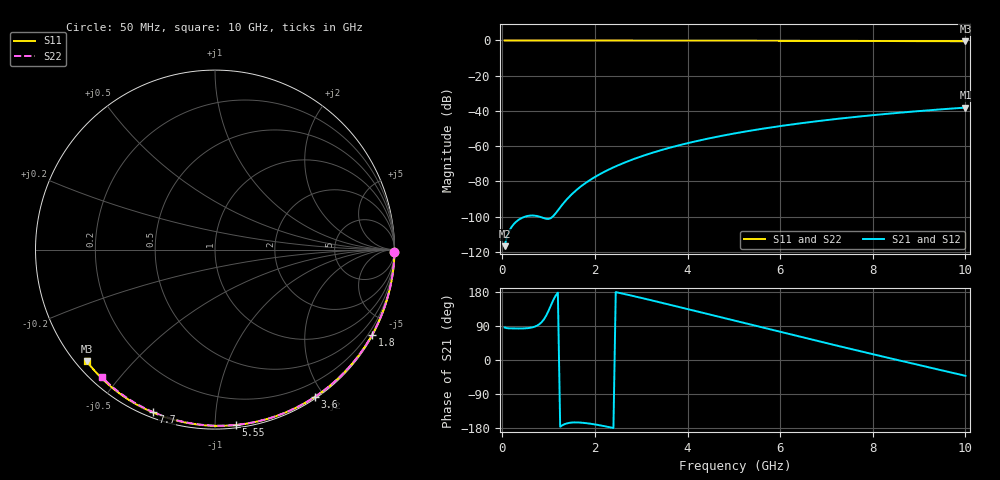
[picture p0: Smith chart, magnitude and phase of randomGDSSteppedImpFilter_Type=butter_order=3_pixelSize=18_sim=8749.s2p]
! freq	dB(S11)	phase(S11)	dB(S12)	phase(S12)
!  dB(S21)	phase(S21)	dB(S22)	phase(S22)
!S-par simulation data
#  GHz  S  DB  R 50
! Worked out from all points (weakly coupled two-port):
!   200 points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, 50 MHz to 10 GHz, reference 50 ohm
!   highest |S21| = -38.12 dB at 10 GHz (marker M1); lowest = -116.8 dB at 50 MHz (marker M2)
!   lowest |S11| = -0.5 dB at 10 GHz (marker M3), VSWR 36.96, Z = 1.54 - j18.7 ohm
!   |S11| at or under -10 dB: nowhere
!   |S22| runs from -0.4 to 0.0 dB; largest |S21 - S12| = 0
!   S11 on the Smith chart (normalised r, x): 50 MHz: open; 1.8 GHz: 0.03, -3.93; 3.6 GHz: 0.02, -1.89; 5.55 GHz: 0.02, -1.13; 7.7 GHz: 0.02, -0.69; 10 GHz: 0.03, -0.37
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0.05  -0.00 -0.8  -116.81 85.8  -116.81 85.8  -0.00 -0.8
0.45  -0.01 -7.3  -100.44 83.3  -100.44 83.3  -0.01 -6.8
0.9  -0.02 -14.4  -100.93 107.5  -100.93 107.5  -0.02 -13.6
1.75  -0.04 -27.8  -81.84 -165.8  -81.84 -165.8  -0.03 -26.2
1.8  -0.04 -28.6  -80.90 -166.5  -80.90 -166.5  -0.03 -27.0
1.85  -0.04 -29.4  -80.01 -167.2  -80.01 -167.2  -0.04 -27.7
2  -0.04 -31.7  -77.53 -170.0  -77.53 -170.0  -0.04 -29.9
2.15  -0.04 -34.0  -75.31 -173.3  -75.31 -173.3  -0.04 -32.1
2.35  -0.05 -37.1  -72.67 -178.2  -72.67 -178.2  -0.04 -35.0
2.55  -0.05 -40.1  -70.33 176.6  -70.33 176.6  -0.05 -37.9
2.95  -0.06 -46.2  -66.29 165.4  -66.29 165.4  -0.06 -43.6
3.4  -0.07 -52.9  -62.51 152.3  -62.51 152.3  -0.07 -49.9
3.6  -0.08 -55.8  -61.02 146.3  -61.02 146.3  -0.07 -52.7
4.3  -0.09 -65.9  -56.53 125.4  -56.53 125.4  -0.09 -62.3
5.05  -0.12 -76.4  -52.62 102.7  -52.62 102.7  -0.11 -72.3
5.55  -0.14 -83.2  -50.41 87.7  -50.41 87.7  -0.13 -78.7
6.1  -0.16 -90.5  -48.25 71.2  -48.25 71.2  -0.15 -85.7
6.7  -0.19 -98.3  -46.17 53.4  -46.17 53.4  -0.18 -93.1
7.7  -0.25 -111.0  -43.21 24.1  -43.21 24.1  -0.24 -105.1
8.35  -0.30 -119.0  -41.56 5.3  -41.56 5.3  -0.29 -112.7
9.2  -0.38 -129.3  -39.67 -19.0  -39.67 -19.0  -0.36 -122.5
10  -0.47 -139.0  -38.12 -41.7  -38.12 -41.7  -0.44 -131.5
